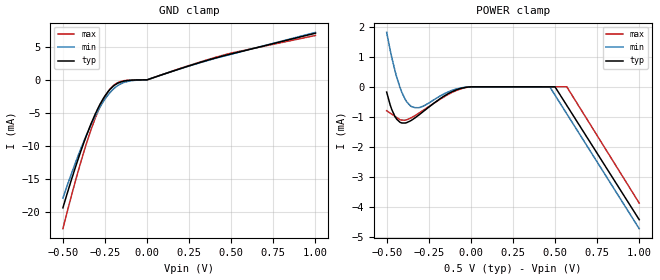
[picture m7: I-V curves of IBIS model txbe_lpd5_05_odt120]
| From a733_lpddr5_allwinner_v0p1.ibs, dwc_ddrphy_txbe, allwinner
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[Model] txbe_lpd5_05_odt120
Model_type   Input
Polarity   Non-Inverting
Enable   Active-High
C_comp   943.110fF   935.584fF   956.640fF
C_comp_pullup   282.084fF   276.827fF   286.851fF
C_comp_pulldown   525.896fF   519.948fF   539.741fF
Vinh = 310.000mV
Vinl = 190.000mV
[Model Spec]
D_overshoot_ampl_h 0.1 NA   NA
D_overshoot_ampl_l 0.1 NA   NA
D_overshoot_area_l 300.000m NA   NA
D_overshoot_area_h 300.000m NA   NA
[Receiver Thresholds]
Vth = 125.000mV
Vth_min = 118.000mV
Vth_max = 143.000mV
Vinh_ac = 60.000mV
Vinh_dc = 60.000mV
Vinl_ac = -60.000mV
Vinl_dc = -60.000mV
Tslew_ac = 5.000ns
Threshold_sensitivity = 0.5
Reference_supply Power_clamp_ref
[Temperature Range]   25.000   125.000   -40.000
[Voltage Range]   500.000mV   470.000mV   570.000mV
[GND Clamp Reference]   0.00V   0.00V   0.00V
[C Comp Corner]
| variable   typ   min   max
C_comp   943.110fF   935.584fF   956.640fF
C_comp_pullup   282.084fF   276.827fF   286.851fF
C_comp_pulldown   525.896fF   519.948fF   539.741fF
[POWER Clamp Reference]   500.000mV   470.000mV   570.000mV
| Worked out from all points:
|   GND clamp passes 1 mA (typ) near -0.20 V on its own axis
|   POWER clamp passes 1 mA (typ) near -0.32 V on its own axis
[GND Clamp]
-500mV    -19.43mA   -17.94mA   -22.59mA
-400mV    -11.32mA   -10.89mA   -13.04mA
-330mV    -6.493mA   -6.648mA   -7.352mA
-290mV    -4.225mA   -4.603mA   -4.677mA
-260mV    -2.824mA   -3.3mA     -3.031mA
-220mV    -1.426mA   -1.917mA   -1.413mA
-190mV    -749.1uA   -1.166mA   -666.2uA
-160mV    -352.1uA   -651.7uA   -268uA
-110mV    -84.8uA    -202.8uA   -50.6uA
0V        0A         0A         0A
470mV     3.751mA    3.698mA    3.866mA
1V        7.086mA    7.207mA    6.742mA
[Power Clamp]
-500mV    -176uA     1.809mA    -797uA
-470mV    -751uA     985.6uA    -909.8uA
-440mV    -1.081mA   316.2uA    -1.023mA
-390mV    -1.205mA   -417.8uA   -1.112mA
-350mV    -1.104mA   -667uA     -1.017mA
-300mV    -900uA     -682uA     -846uA
-160mV    -313uA     -238.2uA   -336.4uA
-40mV     -29uA      -20.8uA    -38.6uA
470mV     -1.387uA   -11.34uA   -235.3nA
500mV     -1.488uA   -277.8uA   -252.9nA
570mV     -619.9uA   -899.4uA   -294.5nA
1V        -4.418mA   -4.718mA   -3.867mA
